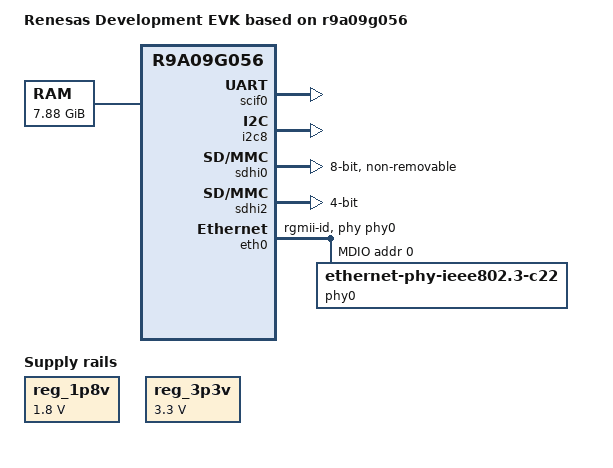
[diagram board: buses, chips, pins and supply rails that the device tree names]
// SPDX-License-Identifier: (GPL-2.0-only OR BSD-2-Clause)
/*
 * Device Tree Source for the RZ/V2N Development EVK board
 *
 * Copyright (C) 2023 Renesas Electronics Corp.
 */

/dts-v1/;
#include "r9a09g056.dtsi"
#include <dt-bindings/pinctrl/rzv2n-pinctrl.h>

/*
 * Jumper setting
 *
 * Please change the jumper setting corresponding to below Macros:
 *
 * SW2 (SEL_SD0): 1: eMMC (default);	0: SD
 */

/*
 * There is a conflict between SD0_PWR_EN pin and SD1_CD pins.
 * They all use PA1 pin.
 * So SD0 and SD1 can not be used at the same time.

 * Just only one SDHI interface must be chosen.
 * Macro to select between SDHI0 and SDHI1:
 * SEL_SD0_SD1:	0: SDHI0	1: SDHI1
 *
 * JP7 is a connection between QSD1_CD and PA1 pins.
 * JP7_34 (connect QSD1_CD to PA1):
 *      0 (open):       unconnected
 *      1 (short):      connected
 */

#define SEL_SD0_SD1	0
#if (SEL_SD0_SD1)
#define JP7_34  1
#else
#define SW2	1
#define JP7_34	0
#endif

/ {
	model = "Renesas Development EVK based on r9a09g056";
	compatible = "renesas,r9a09g056";

	aliases {
		serial0 = &scif0;
#if (!SEL_SD0_SD1)
		mmc0 = &sdhi0;
		mmc1 = &sdhi2;
#else
		mmc1 = &sdhi1;
#endif
		i2c8 = &i2c8;
	};

	chosen {
		stdout-path = "serial0:115200n8";
	};

	memory@48000000 {
		device_type = "memory";
		/* first 128MB is reserved for secure area. */
		reg = <0x0 0x48000000 0x1 0xF8000000>;
	};

	reserved-memory {
		#address-cells = <2>;
		#size-cells = <2>;
		ranges;

		global_cma: linux,cma@58000000 {
			compatible = "shared-dma-pool";
			linux,cma-default;
			reusable;
			reg = <0x0 0x58000000 0x0 0x10000000>;
		};
	};

	reg_1p8v: regulator0 {
		compatible = "regulator-fixed";

		regulator-name = "fixed-1.8V";
		regulator-min-microvolt = <1800000>;
		regulator-max-microvolt = <1800000>;
		regulator-boot-on;
		regulator-always-on;
	};

	reg_3p3v: regulator1 {
		compatible = "regulator-fixed";

		regulator-name = "fixed-3.3V";
		regulator-min-microvolt = <3300000>;
		regulator-max-microvolt = <3300000>;
		regulator-boot-on;
		regulator-always-on;
	};
};

&pinctrl {
	sdhi2_pins: sdhi2 {
		pinmux = <RZV2N_PINMUX(11, 0, 1)>,	/* SD2CLK	*/
			 <RZV2N_PINMUX(11, 1, 1)>,	/* SD2DAT0	*/
			 <RZV2N_PINMUX(11, 2, 1)>,	/* SD2DAT1	*/
			 <RZV2N_PINMUX(11, 3, 1)>,	/* SD2DAT2	*/
			 <RZV2N_PINMUX(11, 4, 1)>,	/* SD2DAT3	*/
			 <RZV2N_PINMUX(11, 5, 1)>;	/* SD2CMD	*/
	};
};

&extal_clk {
	clock-frequency = <24000000>;
};

&scif0 {

	status = "okay";
};

&i2c8 {
	status = "okay";
};

#if (!SEL_SD0_SD1)
#if (SW2)
&sdhi0 {
	bus-width = <8>;
	non-removable;
	fixed-emmc-driver-type = <1>;
	status = "okay";
};
#else
&sdhi0 {

	bus-width = <4>;
	sd-uhs-sdr50;
	sd-uhs-sdr104;
	status = "okay";
};
#endif
&sdhi2 {
	pinctrl-names = "default";
	pinctrl-0 = <&sdhi2_pins>;
	bus-width = <4>;
	status = "okay";
};
#else
&sdhi1 {

	bus-width = <4>;
	sd-uhs-sdr50;
	sd-uhs-sdr104;
	status = "okay";
};
#endif

&eth0 {
	status = "okay";
	phy-handle = <&phy0>;
	phy-mode = "rgmii-id";

	mdio {
		#address-cells = <1>;
		#size-cells = <0>;

		phy0: ethernet-phy@0 {
			compatible = "ethernet-phy-ieee802.3-c22";
			reg = <0>;
			txc-skew-ps = <1700>;
			txen-skew-ps = <(-700)>;
			txd0-skew-ps = <0>;
			txd1-skew-ps = <0>;
			txd2-skew-ps = <0>;
			txd3-skew-ps = <0>;
		};
	};
};
